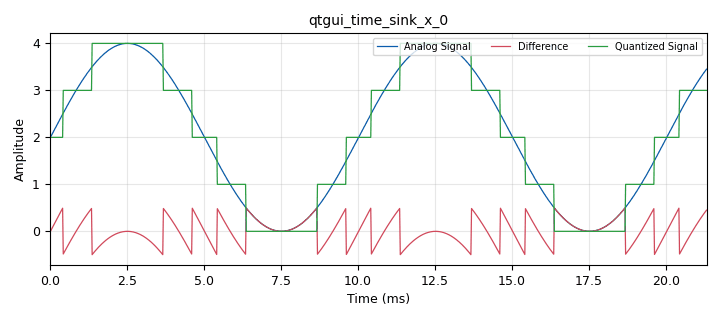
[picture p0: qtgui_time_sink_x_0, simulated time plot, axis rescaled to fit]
options:
  parameters:
    generate_options: qt_gui
    id: ECE380Lab5Ex1
    output_language: python
    title: Not titled yet
  states: {}

blocks:
- name: amplitude_max
  id: variable
  parameters:
    value: '1'
  states: {}
- name: analog_scale
  id: variable
  parameters:
    value: (num_levels-1)/2
  states: {}
- name: num_levels
  id: variable_qtgui_range
  parameters:
    label: Number of Levels
    start: '3'
    step: '1'
    stop: '256'
    value: '5'
  states: {}
- name: samp_rate
  id: variable
  parameters:
    value: '48000'
  states: {}
- name: analog_sig_source_x_0
  id: analog_sig_source_x
  parameters:
    amp: amplitude_max
    freq: '100'
    offset: '0'
    phase: '0'
    samp_rate: samp_rate
    type: float
    waveform: analog.GR_COS_WAVE
  states: {}
- name: blocks_add_const_vxx_0
  id: blocks_add_const_vxx
  parameters:
    const: '1'
    type: float
  states: {}
- name: blocks_divide_xx_0
  id: blocks_divide_xx
  parameters:
    type: float
  states: {}
- name: blocks_moving_average_xx_0
  id: blocks_moving_average_xx
  parameters:
    length: '1000000'
    max_iter: '4000'
    scale: 1/1000000
    type: float
  states: {}
- name: blocks_moving_average_xx_0_0
  id: blocks_moving_average_xx
  parameters:
    length: '1000000'
    max_iter: '4000'
    scale: 1/1000000
    type: float
  states: {}
- name: blocks_multiply_const_vxx_0
  id: blocks_multiply_const_vxx
  parameters:
    const: analog_scale
    type: float
  states: {}
- name: blocks_multiply_const_vxx_0_0
  id: blocks_multiply_const_vxx
  parameters:
    const: analog_scale
    type: float
  states: {}
- name: blocks_multiply_xx_0
  id: blocks_multiply_xx
  parameters:
    type: float
  states: {}
- name: blocks_multiply_xx_0_0
  id: blocks_multiply_xx
  parameters:
    type: float
  states: {}
- name: blocks_nlog10_ff_0
  id: blocks_nlog10_ff
  parameters:
    k: '0'
    n: '10'
  states: {}
- name: blocks_sub_xx_0
  id: blocks_sub_xx
  parameters:
    type: float
  states: {}
- name: blocks_uchar_to_float_0
  id: blocks_uchar_to_float
  parameters: {}
  states: {}
- name: epy_block_0
  id: epy_block
  parameters:
    _source_code: |
      """Uniform quantization

          Source : Based on Section 2.2.2.2 of Meinhard Mueller's Fundamentals of Music Processing
          
          https://www.audiolabs-erlangen.de/resources/MIR/FMP/C2/C2S2_DigitalSignalQuantization.html

          Notebook: C2/C2S2_DigitalSignalQuantization.ipynb

          Args:
              x (np.ndarray): Original signal
              quant_min (float): Minimum quantization level (Default value = -1.0)
              quant_max (float): Maximum quantization level (Default value = 1.0)
              quant_level (int): Number of quantization levels (Default value = 5)

          Returns:
              x_quant (np.ndarray): Quantized signal
      """

      import numpy as np
      import math
      from gnuradio import gr


      class blk(gr.sync_block):  # other base classes are basic_block, decim_block, interp_block
          """Embedded Python Block implementing quantization up to 8 bits"""

          def __init__(self, quant_min=-1.0, quant_max=1.0, quant_level=5):  # only default arguments here
              """arguments to this function show up as parameters in GRC"""
              gr.sync_block.__init__(
                  self,
                  name='Quantize Block',   # will show up in GRC
                  in_sig=[np.float32],
                  out_sig=[np.int8]
              )
              # if an attribute with the same name as a parameter is found,
              # a callback is registered (properties work, too).
              self.quant_min = quant_min
              self.quant_max = quant_max
              self.quant_level = quant_level
              print(quant_level)

          def work(self, input_items, output_items):
              """Using the provided parameters, normalize, quantize, and scale the input samples"""
              x_normalize = (input_items[0] - self.quant_min) * (self.quant_level-1) / (self.quant_max-self.quant_min)
              x_normalize[x_normalize > self.quant_level - 1] = self.quant_level - 1
              x_normalize[x_normalize < 0] = 0
              """We want integer values, so round to the nearest integer"""
              x_normalize_quant = np.around(x_normalize)
              
              output_items[0][:] = x_normalize_quant
              return len(output_items[0])
    quant_level: num_levels
    quant_max: amplitude_max
    quant_min: '-1*amplitude_max'
  states: {}
- name: import_0
  id: import
  parameters:
    imports: import numpy as np
  states: {}
- name: qtgui_number_sink_0
  id: qtgui_number_sink
  parameters:
    graph_type: qtgui.NUM_GRAPH_HORIZ
    label1: SQNR dB
    max: '100'
    min: '-100'
    type: float
    unit1: dB
  states: {}
- name: qtgui_time_sink_x_0
  id: qtgui_time_sink_x
  parameters:
    ctrlpanel: 'True'
    label1: Analog Signal
    label2: Difference
    label3: Quantized Signal
    nconnections: '3'
    size: '1024'
    srate: samp_rate
    tr_level: analog_scale
    tr_mode: qtgui.TRIG_MODE_NORM
    type: float
    ymax: analog_scale/2
    ymin: '-1*analog_scale/2'
  states: {}

connections:
- [analog_sig_source_x_0, '0', blocks_add_const_vxx_0, '0']
- [analog_sig_source_x_0, '0', blocks_multiply_const_vxx_0_0, '0']
- [analog_sig_source_x_0, '0', epy_block_0, '0']
- [blocks_add_const_vxx_0, '0', blocks_multiply_const_vxx_0, '0']
- [blocks_divide_xx_0, '0', blocks_nlog10_ff_0, '0']
- [blocks_moving_average_xx_0, '0', blocks_divide_xx_0, '0']
- [blocks_moving_average_xx_0_0, '0', blocks_divide_xx_0, '1']
- [blocks_multiply_const_vxx_0, '0', blocks_sub_xx_0, '0']
- [blocks_multiply_const_vxx_0, '0', qtgui_time_sink_x_0, '0']
- [blocks_multiply_const_vxx_0_0, '0', blocks_multiply_xx_0, '0']
- [blocks_multiply_const_vxx_0_0, '0', blocks_multiply_xx_0, '1']
- [blocks_multiply_xx_0, '0', blocks_moving_average_xx_0, '0']
- [blocks_multiply_xx_0_0, '0', blocks_moving_average_xx_0_0, '0']
- [blocks_nlog10_ff_0, '0', qtgui_number_sink_0, '0']
- [blocks_sub_xx_0, '0', blocks_multiply_xx_0_0, '0']
- [blocks_sub_xx_0, '0', blocks_multiply_xx_0_0, '1']
- [blocks_sub_xx_0, '0', qtgui_time_sink_x_0, '1']
- [blocks_uchar_to_float_0, '0', blocks_sub_xx_0, '1']
- [blocks_uchar_to_float_0, '0', qtgui_time_sink_x_0, '2']
- [epy_block_0, '0', blocks_uchar_to_float_0, '0']

metadata:
  file_format: 1
  grc_version: 3.10.12.0
